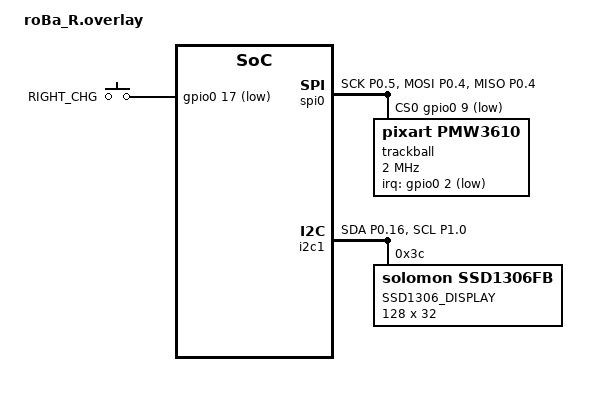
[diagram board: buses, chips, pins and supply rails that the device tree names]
#include "roBa.dtsi"

#include <dt-bindings/gpio/gpio.h>
#include <dt-bindings/input/input-event-codes.h>

&default_transform {
    col-offset = <6>;
};

&kscan0 {
        col-gpios
            = <&xiao_d 10 GPIO_ACTIVE_HIGH>
            , <&xiao_d 9 GPIO_ACTIVE_HIGH>
            , <&xiao_d 8 GPIO_ACTIVE_HIGH>
            , <&xiao_d 7 GPIO_ACTIVE_HIGH>
            , <&gpio0 10 GPIO_ACTIVE_HIGH>
            ;
};

/ {
    trackball_listener {
        status = "okay";
        compatible = "zmk,input-listener";
        device = <&trackball>;
    };
};

&pinctrl {
    spi0_default: spi0_default {
        group1 {
            psels = <NRF_PSEL(SPIM_SCK, 0, 5)>,
                <NRF_PSEL(SPIM_MOSI, 0, 4)>,
                <NRF_PSEL(SPIM_MISO, 0, 4)>;
        };
    };

    spi0_sleep: spi0_sleep {
        group1 {
            psels = <NRF_PSEL(SPIM_SCK, 0, 5)>,
                <NRF_PSEL(SPIM_MOSI, 0, 4)>,
                <NRF_PSEL(SPIM_MISO, 0, 4)>;
            low-power-enable;
        };
    };
};

&xiao_serial { status = "disabled"; };

&spi0 {
    status = "okay";
    compatible = "nordic,nrf-spim";
    pinctrl-0 = <&spi0_default>;
    pinctrl-1 = <&spi0_sleep>;
    pinctrl-names = "default", "sleep";
    cs-gpios = <&gpio0 9 GPIO_ACTIVE_LOW>;

    trackball: trackball@0 {
        status = "okay";
        compatible = "pixart,pmw3610";
        reg = <0>;
        spi-max-frequency = <2000000>;
        irq-gpios = <&gpio0 2 (GPIO_ACTIVE_LOW | GPIO_PULL_UP)>;
    };
};

/* i2c control for display */
&i2c0 { status = "disabled"; };

&pinctrl {
    i2c1_default: i2c1_default {
        group1 {
            psels =
                <NRF_PSEL(TWIM_SDA, 0, 16)>,
                <NRF_PSEL(TWIM_SCL, 1, 0)>;
        };
    };

    i2c1_sleep: i2c1_sleep {
        group1 {
            psels =
                <NRF_PSEL(TWIM_SDA, 0, 16)>,
                <NRF_PSEL(TWIM_SCL, 1, 0)>;
            low-power-enable;
        };
    };
};

/{
  chosen {
    zephyr,display = &oled_ssd1306;
  };
};


&i2c1 {
  status = "okay";

  zephyr,concat-buf-size = <1024>;

  pinctrl-names = "default", "sleep";
  pinctrl-0 = <&i2c1_default>;
  pinctrl-1 = <&i2c1_sleep>;

  oled_ssd1306: ssd1306@3c {
    compatible = "solomon,ssd1306fb";
    label = "SSD1306_DISPLAY";

    reg = <0x3c>;
    width = <128>;
    height = <32>;
    multiplex-ratio = <31>;
    segment-offset = <0>;
    page-offset = <0>;
    display-offset = <0>;

    segment-remap;
    com-invdir;
    com-sequential;

    prechargep = <0x22>;

  };
};

/ {
    chg_central: chg_central {
        compatible = "gpio-keys";
        status = "okay";

        r_chg: r_chg {
          label = "RIGHT_CHG";
          zephyr,code = <INPUT_KEY_F24>;
          gpios = <&gpio0 17 (GPIO_ACTIVE_LOW | GPIO_PULL_UP)>;
        };
    };
};

